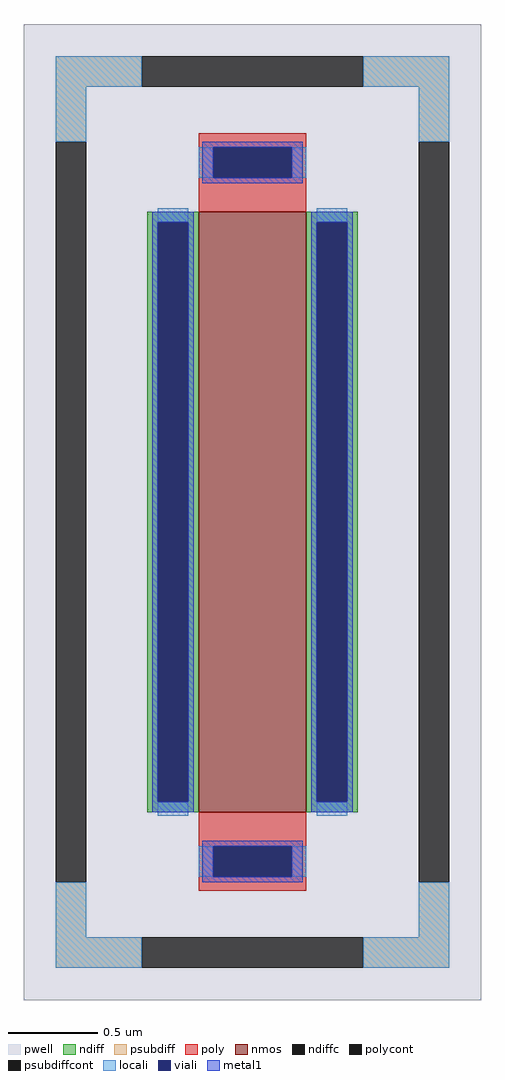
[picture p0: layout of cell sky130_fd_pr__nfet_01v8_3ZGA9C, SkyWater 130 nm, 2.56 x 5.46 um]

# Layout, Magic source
magic
tech sky130A
<< pwell >>
rect -128 -273 128 273
<< nmos >>
rect -30 -168 30 168
<< ndiff >>
rect -59 162 -30 168
rect -59 -162 -53 162
rect -36 -162 -30 162
rect -59 -168 -30 -162
rect 30 162 59 168
rect 30 -162 36 162
rect 53 -162 59 162
rect 30 -168 59 -162
<< ndiffc >>
rect -53 -162 -36 162
rect 36 -162 53 162
<< psubdiff >>
rect -110 238 -62 255
rect 62 238 110 255
rect -110 207 -93 238
rect 93 207 110 238
rect -110 -238 -93 -207
rect 93 -238 110 -207
rect -110 -255 -62 -238
rect 62 -255 110 -238
<< psubdiffcont >>
rect -62 238 62 255
rect -110 -207 -93 207
rect 93 -207 110 207
rect -62 -255 62 -238
<< poly >>
rect -30 204 30 212
rect -30 187 -22 204
rect 22 187 30 204
rect -30 168 30 187
rect -30 -187 30 -168
rect -30 -204 -22 -187
rect 22 -204 30 -187
rect -30 -212 30 -204
<< polycont >>
rect -22 187 22 204
rect -22 -204 22 -187
<< locali >>
rect -110 238 -62 255
rect 62 238 110 255
rect -110 207 -93 238
rect 93 207 110 238
rect -30 187 -22 204
rect 22 187 30 204
rect -53 162 -36 170
rect -53 -170 -36 -162
rect 36 162 53 170
rect 36 -170 53 -162
rect -30 -204 -22 -187
rect 22 -204 30 -187
rect -110 -238 -93 -207
rect 93 -238 110 -207
rect -110 -255 -62 -238
rect 62 -255 110 -238
<< viali >>
rect -22 187 22 204
rect -53 -162 -36 162
rect 36 -162 53 162
rect -22 -204 22 -187
<< metal1 >>
rect -28 204 28 207
rect -28 187 -22 204
rect 22 187 28 204
rect -28 184 28 187
rect -56 162 -33 168
rect -56 -162 -53 162
rect -36 -162 -33 162
rect -56 -168 -33 -162
rect 33 162 56 168
rect 33 -162 36 162
rect 53 -162 56 162
rect 33 -168 56 -162
rect -28 -187 28 -184
rect -28 -204 -22 -187
rect 22 -204 28 -187
rect -28 -207 28 -204
<< properties >>
string FIXED_BBOX -101 -246 101 246
string gencell sky130_fd_pr__nfet_01v8
string library sky130
string parameters w 3.36 l 0.6 m 1 nf 1 diffcov 100 polycov 100 guard 1 glc 1 grc 1 gtc 1 gbc 1 tbcov 100 rlcov 100 topc 1 botc 1 poverlap 0 doverlap 1 lmin 0.15 wmin 0.42 compatible {sky130_fd_pr__nfet_01v8 sky130_fd_pr__nfet_01v8_lvt  sky130_fd_bs_flash__special_sonosfet_star  sky130_fd_pr__nfet_g5v0d10v5 sky130_fd_pr__nfet_05v0_nvt  sky130_fd_pr__nfet_03v3_nvt} full_metal 1 viasrc 100 viadrn 100 viagate 100 viagb 0 viagr 0 viagl 0 viagt 0
<< end >>
